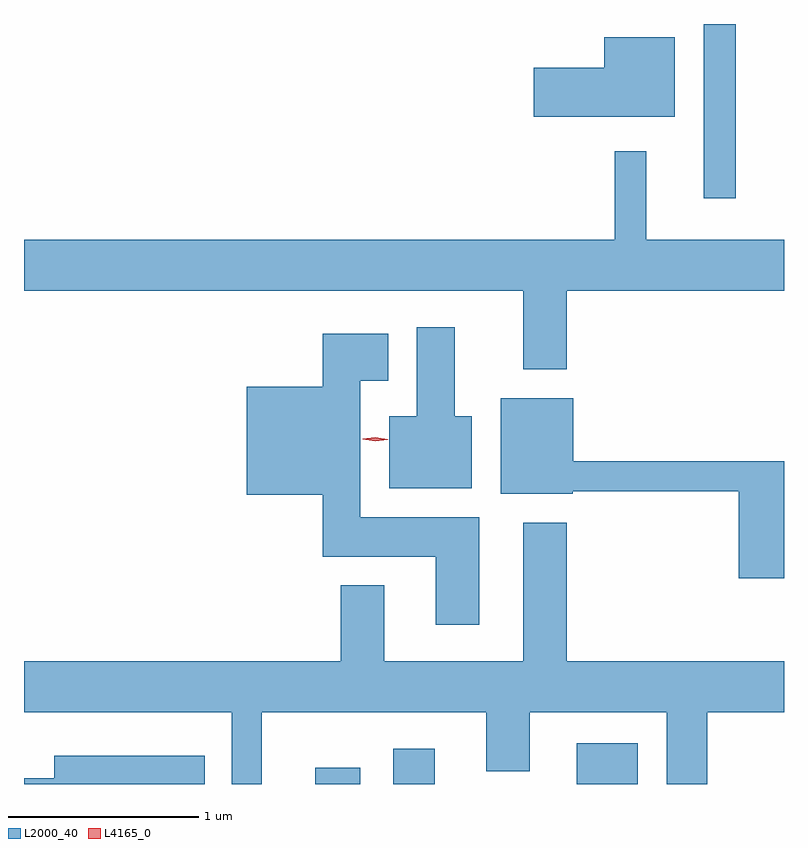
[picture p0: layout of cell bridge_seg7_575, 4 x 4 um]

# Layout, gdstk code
import gdstk
lib = gdstk.Library(unit=1e-6, precision=1e-09)
def R(c, l, rs):  # rectangles x0, y0, x1, y1
    for r in rs: c.add(gdstk.rectangle(r[:2], r[2:], *l))
def P(c, l, *ps):  # polygons
    for p in ps: c.add(gdstk.Polygon(p, *l))
L2000_40 = (2000, 40)
L4165_0 = (4165, 0)

bridge_seg7_575 = lib.new_cell('bridge_seg7_575')
R(bridge_seg7_575, L2000_40, [(638.906,1762.779,639.144,1762.864), (639.316,1762.779,639.534,1762.964), (640.281,1762.779,640.604,1762.994), (640.951,1765.863,641.119,1766.779)])
P(bridge_seg7_575, L2000_40, [(640.799,1766.709),(640.426,1766.709),(640.426,1766.549),(640.056,1766.549),(640.056,1766.291),(640.799,1766.291)],
  [(640.229,1765.376),(641.373,1765.376),(641.373,1765.644),(640.649,1765.644),(640.649,1766.108),(640.481,1766.108),(640.481,1765.644),(637.373,1765.644),(637.373,1765.376),(640.001,1765.376),(640.001,1764.961),(640.229,1764.961)],
  [(639.729,1764.714),(639.639,1764.714),(639.639,1765.184),(639.441,1765.184),(639.441,1764.714),(639.296,1764.714),(639.296,1764.336),(639.729,1764.336)],
  [(639.769,1764.184),(639.144,1764.184),(639.144,1764.901),(639.289,1764.901),(639.289,1765.149),(638.946,1765.149),(638.946,1764.869),(638.546,1764.869),(638.546,1764.301),(638.946,1764.301),(638.946,1763.976),(639.541,1763.976),(639.541,1763.616),(639.769,1763.616)],
  [(641.373,1764.479),(640.264,1764.479),(640.264,1764.809),(639.881,1764.809),(639.881,1764.306),(640.26,1764.306),(640.26,1764.321),(641.136,1764.321),(641.136,1763.861),(641.373,1763.861)],
  [(638.624,1763.156),(639.806,1763.156),(639.806,1762.846),(640.034,1762.846),(640.034,1763.156),(640.756,1763.156),(640.756,1762.779),(640.969,1762.779),(640.969,1763.156),(641.373,1763.156),(641.373,1763.424),(640.229,1763.424),(640.229,1764.154),(640.001,1764.154),(640.001,1763.424),(639.269,1763.424),(639.269,1763.824),(639.041,1763.824),(639.041,1763.424),(637.373,1763.424),(637.373,1763.156),(638.466,1763.156),(638.466,1762.779),(638.624,1762.779)],
  [(638.323,1762.929),(637.531,1762.929),(637.531,1762.809),(637.373,1762.809),(637.373,1762.779),(638.323,1762.779)])
P(bridge_seg7_575, L4165_0, [(639.222,1764.583),(639.156,1764.594),(639.156,1764.595),(639.156,1764.595),(639.222,1764.603),(639.288,1764.593),(639.288,1764.592),(639.288,1764.592)])

lib.write_gds('bridge_seg7_575.gds')
